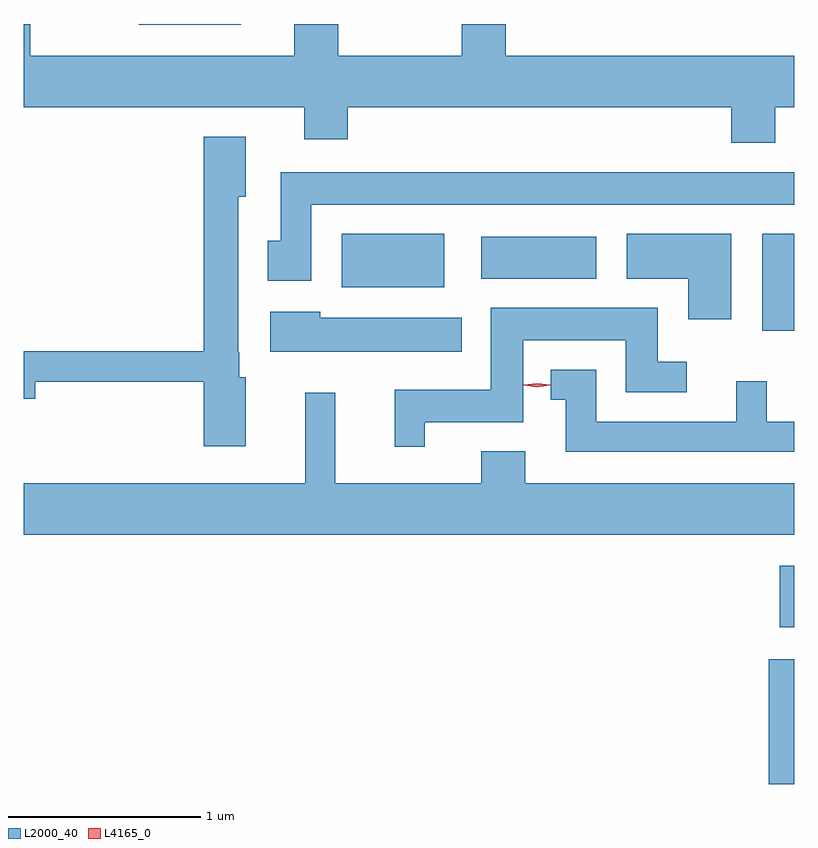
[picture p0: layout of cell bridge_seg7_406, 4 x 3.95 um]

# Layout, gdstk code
import gdstk
lib = gdstk.Library(unit=1e-6, precision=1e-09)
def R(c, l, rs):  # rectangles x0, y0, x1, y1
    for r in rs: c.add(gdstk.rectangle(r[:2], r[2:], *l))
def P(c, l, *ps):  # polygons
    for p in ps: c.add(gdstk.Polygon(p, *l))
L2000_40 = (2000, 40)
L4165_0 = (4165, 0)

bridge_seg7_406 = lib.new_cell('bridge_seg7_406')
R(bridge_seg7_406, L2000_40, [(1069.226,1668.621,1069.356,1669.269), (1069.281,1669.436,1069.356,1669.754), (1069.191,1670.976,1069.356,1671.479), (1067.006,1671.201,1067.539,1671.479), (1067.731,1671.246,1068.329,1671.464)])
P(bridge_seg7_406, L2000_40, [(1069.259,1672.136),(1069.356,1672.136),(1069.356,1672.404),(1067.859,1672.404),(1067.859,1672.569),(1067.631,1672.569),(1067.631,1672.404),(1066.989,1672.404),(1066.989,1672.569),(1066.761,1672.569),(1066.761,1672.404),(1065.389,1672.404),(1065.389,1672.569),(1065.356,1672.569),(1065.356,1672.136),(1066.811,1672.136),(1066.811,1671.971),(1067.039,1671.971),(1067.039,1672.136),(1069.031,1672.136),(1069.031,1671.951),(1069.259,1671.951)],
  [(1066.485,1672.569),(1065.953,1672.569),(1065.953,1672.566),(1066.482,1672.566)],
  [(1066.509,1670.734),(1066.474,1670.734),(1066.474,1670.865),(1066.469,1670.865),(1066.469,1671.671),(1066.509,1671.671),(1066.509,1671.984),(1066.291,1671.984),(1066.291,1670.869),(1065.356,1670.869),(1065.356,1670.621),(1065.414,1670.621),(1065.414,1670.711),(1066.291,1670.711),(1066.291,1670.376),(1066.509,1670.376)],
  [(1066.849,1671.631),(1069.356,1671.631),(1069.356,1671.799),(1066.691,1671.799),(1066.691,1671.444),(1066.621,1671.444),(1066.621,1671.236),(1066.849,1671.236)],
  [(1069.029,1671.479),(1068.486,1671.479),(1068.486,1671.246),(1068.806,1671.246),(1068.806,1671.036),(1069.029,1671.036)],
  [(1067.439,1670.501),(1067.949,1670.501),(1067.949,1670.926),(1068.481,1670.926),(1068.481,1670.656),(1068.798,1670.656),(1068.798,1670.814),(1068.649,1670.814),(1068.649,1671.094),(1067.781,1671.094),(1067.781,1670.669),(1067.281,1670.669),(1067.281,1670.373),(1067.439,1670.373)],
  [(1067.629,1671.044),(1066.894,1671.044),(1066.894,1671.074),(1066.636,1671.074),(1066.636,1670.866),(1067.629,1670.866)],
  [(1069.356,1670.504),(1069.214,1670.504),(1069.214,1670.713),(1069.056,1670.713),(1069.056,1670.504),(1068.329,1670.504),(1068.329,1670.774),(1068.093,1670.774),(1068.093,1670.616),(1068.171,1670.616),(1068.171,1670.346),(1069.356,1670.346)],
  [(1069.356,1670.184),(1067.959,1670.184),(1067.959,1670.349),(1067.731,1670.349),(1067.731,1670.184),(1066.974,1670.184),(1066.974,1670.653),(1066.816,1670.653),(1066.816,1670.184),(1065.356,1670.184),(1065.356,1669.916),(1069.356,1669.916)])
P(bridge_seg7_406, L4165_0, [(1068.022,1670.683),(1067.952,1670.693),(1067.952,1670.693),(1067.952,1670.694),(1068.022,1670.703),(1068.091,1670.694),(1068.091,1670.693),(1068.091,1670.693)])

lib.write_gds('bridge_seg7_406.gds')
